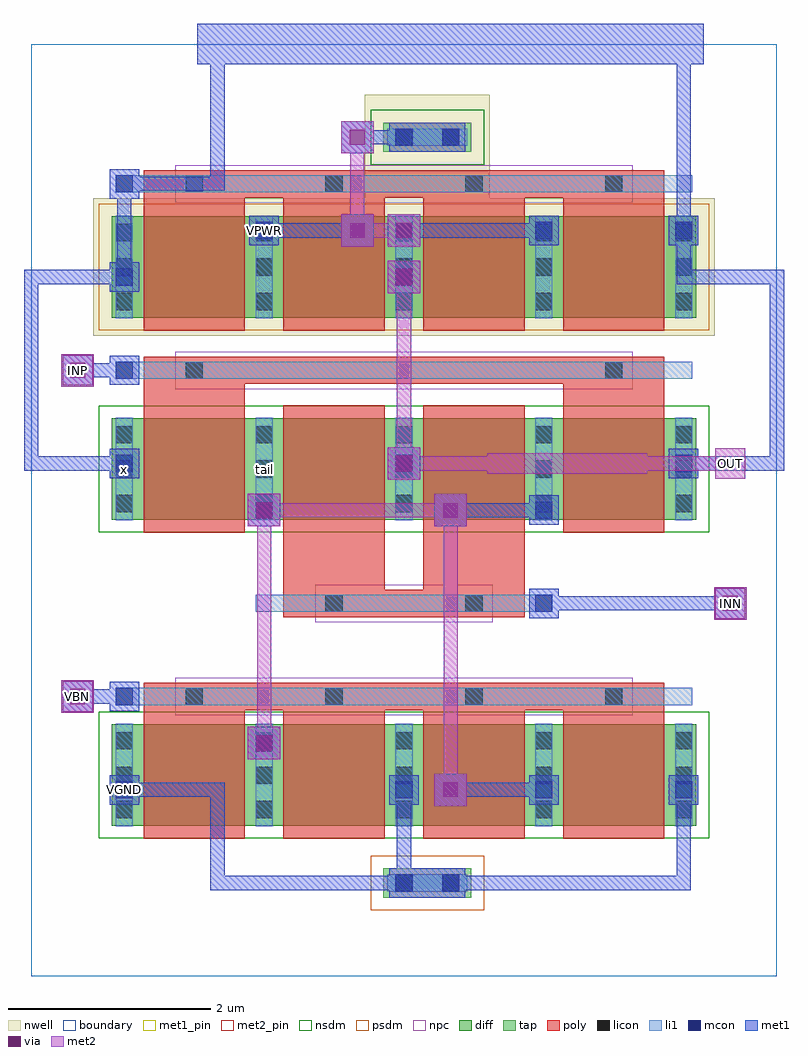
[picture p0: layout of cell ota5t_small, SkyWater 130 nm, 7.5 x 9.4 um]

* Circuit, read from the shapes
.subckt ota5t_small INN INP OUT VBN VGND VPWR tail x
XM1 tail VBN VGND VGND sky130_fd_pr__nfet_01v8 w=1 l=1 m=4
XM2 tail INP x VGND sky130_fd_pr__nfet_01v8 w=1 l=1 m=2
XM3 OUT INN tail VGND sky130_fd_pr__nfet_01v8 w=1 l=1 m=2
XM4 VPWR x x VPWR sky130_fd_pr__pfet_01v8 w=1 l=1 m=2
XM5 OUT x VPWR VPWR sky130_fd_pr__pfet_01v8 w=1 l=1 m=2
.ends

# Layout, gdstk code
import gdstk
lib = gdstk.Library(unit=1e-6, precision=1e-09)
def R(c, l, rs):  # rectangles x0, y0, x1, y1
    for r in rs: c.add(gdstk.rectangle(r[:2], r[2:], *l))
def A(c, l, x, y, w, h, nx, ny, dx, dy):  # array of equal rectangles
    R(c, l, [(x+i*dx, y+j*dy, x+i*dx+w, y+j*dy+h) for i in range(nx) for j in range(ny)])
nwell = (64, 20)
diff = (65, 20)
tap = (65, 44)
poly = (66, 20)
licon = (66, 44)
li1 = (67, 20)
mcon = (67, 44)
met1_pin = (68, 16)
met1 = (68, 20)
via = (68, 44)
met2_pin = (69, 16)
met2 = (69, 20)
nsdm = (93, 44)
psdm = (94, 20)
npc = (95, 20)
boundary = (235, 4)

ota5t_small = lib.new_cell('ota5t_small')
R(ota5t_small, nwell, [(0.615,6.32,6.745,7.68), (3.295,7.68,4.525,8.7)])
R(ota5t_small, diff, [(0.795,1.485,6.565,2.485), (0.795,4.505,6.565,5.505), (0.795,6.5,6.565,7.5)])
R(ota5t_small, tap, [(3.475,0.775,4.345,1.065), (3.475,8.135,4.345,8.425)])
A(ota5t_small, poly, 1.11, 1.355, 1, 1.405, 4, 1, 1.38, 0)
A(ota5t_small, poly, 1.11, 6.37, 1, 1.45, 4, 1, 1.38, 0)
R(ota5t_small, poly, [(1.11,2.625,6.25,2.895), (2.49,3.545,4.87,3.815), (2.49,3.68,3.49,5.635), (3.87,3.68,4.87,5.635), (1.11,4.375,2.11,5.98), (5.25,4.375,6.25,5.98), (1.11,5.845,6.25,6.115), (1.11,7.685,6.25,7.955)])
A(ota5t_small, licon, 0.835, 1.56, 0.17, 0.17, 5, 3, 1.38, 0.34)
A(ota5t_small, licon, 1.525, 2.675, 0.17, 0.17, 4, 2, 1.38, 5.06)
A(ota5t_small, licon, 0.835, 4.58, 0.17, 0.17, 5, 3, 1.38, 0.34)
A(ota5t_small, licon, 0.835, 6.575, 0.17, 0.17, 5, 3, 1.38, 0.34)
R(ota5t_small, licon, [(3.595,0.835,3.765,1.005), (4.055,0.835,4.225,1.005), (2.905,3.595,3.075,3.765), (4.285,3.595,4.455,3.765), (1.525,5.895,1.695,6.065), (5.665,5.895,5.835,6.065), (3.595,8.195,3.765,8.365), (4.055,8.195,4.225,8.365)])
A(ota5t_small, li1, 0.835, 1.48, 0.17, 1.01, 5, 2, 1.38, 3.02)
A(ota5t_small, li1, 0.835, 6.495, 0.17, 1.01, 5, 1, 1.38, 0)
R(ota5t_small, li1, [(3.515,0.835,4.305,1.005), (0.835,2.675,6.525,2.845), (2.215,3.595,5.145,3.765), (0.835,5.895,6.525,6.065), (0.835,7.735,6.525,7.905), (3.515,8.195,4.305,8.365)])
A(ota5t_small, mcon, 3.595, 1.755, 0.17, 0.17, 3, 1, 1.38, 0)
A(ota5t_small, mcon, 0.835, 4.975, 0.17, 0.17, 3, 1, 2.76, 0)
A(ota5t_small, mcon, 0.835, 5.895, 0.17, 0.17, 1, 3, 0, 0.92)
R(ota5t_small, mcon, [(3.595,0.835,3.765,1.005), (4.055,0.835,4.225,1.005), (0.835,1.755,1.005,1.925), (2.215,2.215,2.385,2.385), (0.835,2.675,1.005,2.845), (4.975,3.595,5.145,3.765), (2.215,4.515,2.385,4.685), (4.975,4.515,5.145,4.685), (3.595,6.815,3.765,6.985), (2.215,7.275,2.385,7.445), (4.975,7.275,5.145,7.445), (6.355,7.275,6.525,7.445), (3.595,8.195,3.765,8.365), (4.055,8.195,4.225,8.365)])
R(ota5t_small, met1_pin, [(0.775,1.695,1.065,1.985), (2.155,7.215,2.445,7.505)])
A(ota5t_small, met1, 3.535, 1.695, 0.29, 0.29, 3, 1, 1.38, 0)
A(ota5t_small, met1, 0.775, 4.915, 0.29, 0.29, 3, 1, 2.76, 0)
A(ota5t_small, met1, 0.775, 5.835, 0.29, 0.29, 1, 3, 0, 0.92)
R(ota5t_small, met1, [(3.535,0.775,4.285,1.065), (1.77,0.85,3.75,0.99), (1.77,0.85,1.91,1.91), (3.61,0.85,3.75,1.91), (3.61,0.85,3.75,0.99), (3.61,0.85,6.51,0.99), (6.37,0.85,6.51,1.91), (3.98,1.68,4.3,2), (0.775,1.695,1.065,1.985), (0.85,1.77,1.91,1.91), (4.07,1.77,5.13,1.91), (2.14,2.14,2.46,2.46), (2.155,2.155,2.445,2.445), (0.3,2.6,0.62,2.92), (0.775,2.615,1.065,2.905), (0.39,2.69,0.99,2.83), (6.74,3.52,7.06,3.84), (4.915,3.535,5.205,3.825), (4.99,3.61,6.97,3.75), (2.14,4.44,2.46,4.76), (3.98,4.44,4.3,4.76), (2.155,4.455,2.445,4.745), (4.915,4.455,5.205,4.745), (4.07,4.53,5.13,4.67), (3.52,4.9,3.84,5.22), (-0.07,4.99,0.99,5.13), (-0.07,4.99,0.07,6.97), (6.37,4.99,7.43,5.13), (7.29,4.99,7.43,6.97), (0.3,5.82,0.62,6.14), (0.39,5.91,0.99,6.05), (3.52,6.74,3.84,7.06), (3.535,6.755,3.825,7.045), (-0.07,6.83,0.99,6.97), (0.85,6.83,0.99,7.89), (6.37,6.83,7.43,6.97), (6.37,6.83,6.51,7.43), (3.06,7.2,3.38,7.52), (3.52,7.2,3.84,7.52), (2.155,7.215,2.445,7.505), (4.915,7.215,5.205,7.505), (6.295,7.215,6.585,7.505), (2.23,7.29,3.29,7.43), (3.61,7.29,5.13,7.43), (6.37,7.29,6.51,9.27), (0.85,7.75,1.91,7.89), (1.77,7.75,1.91,9.27), (3.06,8.12,3.38,8.44), (3.535,8.135,4.285,8.425), (3.15,8.21,3.75,8.35), (3.61,8.21,3.75,8.35), (1.64,9,6.64,9.4)])
R(ota5t_small, via, [(4.065,1.765,4.215,1.915), (2.225,2.225,2.375,2.375), (0.385,2.685,0.535,2.835), (6.825,3.605,6.975,3.755), (2.225,4.525,2.375,4.675), (4.065,4.525,4.215,4.675), (3.605,4.985,3.755,5.135), (0.385,5.905,0.535,6.055), (3.605,6.825,3.755,6.975), (3.145,7.285,3.295,7.435), (3.605,7.285,3.755,7.435), (3.145,8.205,3.295,8.355)])
R(ota5t_small, met2_pin, [(0.31,2.61,0.61,2.91), (6.75,3.53,7.05,3.83), (6.75,4.91,7.05,5.21), (0.31,5.83,0.61,6.13)])
R(ota5t_small, met2, [(3.98,1.68,4.3,2), (4.07,1.77,4.21,4.67), (2.14,2.14,2.46,2.46), (2.23,2.23,2.37,4.67), (0.3,2.6,0.62,2.92), (0.31,2.61,0.61,2.91), (0.39,2.69,0.53,2.83), (6.74,3.52,7.06,3.84), (6.75,3.53,7.05,3.83), (6.83,3.61,6.97,3.75), (2.14,4.44,2.46,4.76), (3.98,4.44,4.3,4.76), (2.23,4.53,4.21,4.67), (3.52,4.9,3.84,5.22), (6.75,4.91,7.05,5.21), (4.5,4.96,6.08,5.16), (3.61,4.99,3.75,6.97), (3.61,4.99,4.67,5.13), (5.91,4.99,6.97,5.13), (6.83,4.99,6.97,5.13), (0.3,5.82,0.62,6.14), (0.31,5.83,0.61,6.13), (0.39,5.91,0.53,6.05), (3.52,6.74,3.84,7.06), (3.06,7.2,3.38,7.52), (3.52,7.2,3.84,7.52), (3.15,7.29,3.29,8.35), (3.15,7.29,3.75,7.43), (3.06,8.12,3.38,8.44)])
R(ota5t_small, nsdm, [(0.67,1.36,6.69,2.61), (0.67,4.38,6.69,5.63), (3.35,8.01,4.47,8.55)])
R(ota5t_small, psdm, [(3.35,0.65,4.47,1.19), (0.67,6.375,6.69,7.625)])
R(ota5t_small, npc, [(1.425,2.575,5.935,2.945), (2.805,3.495,4.555,3.865), (1.425,5.795,5.935,6.165), (1.425,7.635,5.935,8.005)])
R(ota5t_small, boundary, [(0,0,7.36,9.2)])
ota5t_small.add(gdstk.Label('x', (0.92,5.005), layer=67, texttype=5))
ota5t_small.add(gdstk.Label('tail', (2.3,5.005), layer=67, texttype=5))
ota5t_small.add(gdstk.Label('VPWR', (2.3,7.36), layer=68, texttype=5))
ota5t_small.add(gdstk.Label('VGND', (0.92,1.84), layer=68, texttype=5))
ota5t_small.add(gdstk.Label('INP', (0.46,5.98), layer=69, texttype=5))
ota5t_small.add(gdstk.Label('INN', (6.9,3.68), layer=69, texttype=5))
ota5t_small.add(gdstk.Label('VBN', (0.46,2.76), layer=69, texttype=5))
ota5t_small.add(gdstk.Label('OUT', (6.9,5.06), layer=69, texttype=5))
ota5t_small.add(gdstk.Label('VPWR', (2.3,7.36), layer=68, texttype=16))
ota5t_small.add(gdstk.Label('VGND', (0.92,1.84), layer=68, texttype=16))
ota5t_small.add(gdstk.Label('INP', (0.46,5.98), layer=69, texttype=16))
ota5t_small.add(gdstk.Label('INN', (6.9,3.68), layer=69, texttype=16))
ota5t_small.add(gdstk.Label('VBN', (0.46,2.76), layer=69, texttype=16))
ota5t_small.add(gdstk.Label('OUT', (6.9,5.06), layer=69, texttype=16))

lib.write_gds('ota5t_small.gds')
